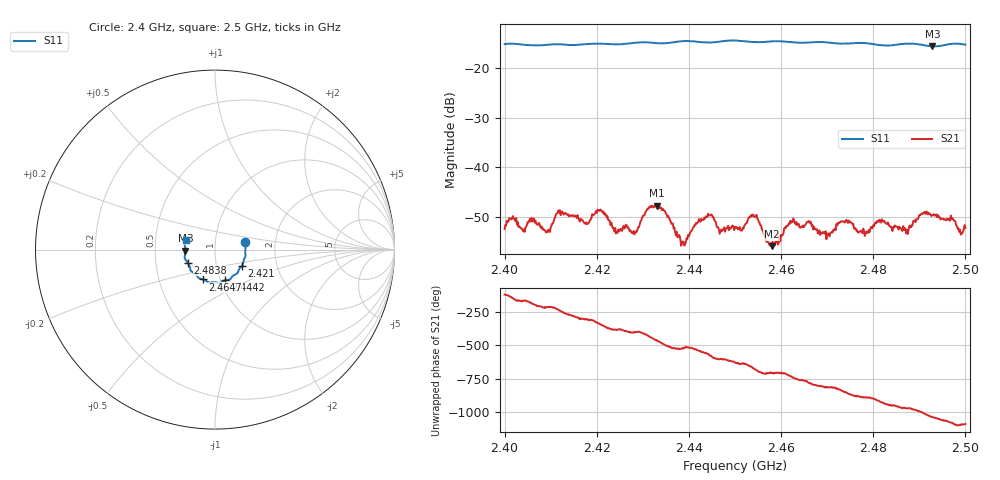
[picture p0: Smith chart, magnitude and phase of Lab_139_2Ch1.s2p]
# Hz S RI R 50
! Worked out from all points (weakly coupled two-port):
!   601 points, 2.4 GHz to 2.5 GHz, reference 50 ohm
!   highest |S21| = -47.73 dB at 2.433 GHz (marker M1); lowest = -55.9 dB at 2.458 GHz (marker M2)
!   lowest |S11| = -15.7 dB at 2.4928 GHz (marker M3), VSWR 1.40, Z = 35.8 - j0.396 ohm
!   |S11| at or under -10 dB: start of sweep to end of sweep
!   S12 and S22 are empty: the file has one direction only
!   S11 on the Smith chart (normalised r, x): 2.4 GHz: 1.40, +0.12; 2.421 GHz: 1.33, -0.24; 2.4442 GHz: 1.05, -0.37; 2.4647 GHz: 0.83, -0.29; 2.4838 GHz: 0.73, -0.11; 2.5 GHz: 0.72, +0.08
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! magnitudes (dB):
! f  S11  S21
! 2.4 GHz  -15.2  -52.4
! 2.4058 GHz  -15.4  -50.2
! 2.4093 GHz  -15.3  -53.1
! 2.412 GHz  -15.2  -48.6
! 2.4167 GHz  -15.3  -50.5
! 2.421 GHz  -15.1  -48.8
! 2.424 GHz  -15.2  -52.2
! 2.4282 GHz  -14.9  -53.5
! 2.433 GHz  -15.0  -47.7
! 2.4333 GHz  -15.0  -47.9
! 2.4388 GHz  -14.6  -55.0
! 2.4442 GHz  -14.9  -49.3
! 2.45 GHz  -14.5  -52.0
! 2.4543 GHz  -14.8  -50.0
! 2.458 GHz  -14.6  -55.9
! 2.4622 GHz  -14.8  -51.1
! 2.4647 GHz  -14.9  -51.7
! 2.4667 GHz  -14.8  -51.8
! 2.4833 GHz  -15.5  -51.4
! 2.4838 GHz  -15.5  -51.9
! 2.4928 GHz  -15.7  -49.6
! 2.5 GHz  -15.3  -52.2
